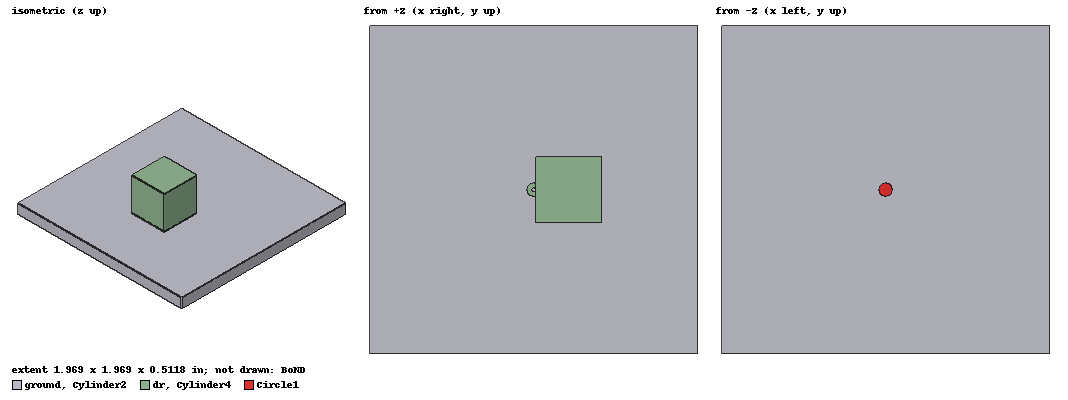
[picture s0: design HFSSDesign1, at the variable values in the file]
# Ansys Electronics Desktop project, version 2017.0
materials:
  vacuum: permittivity=1
  cobalt: permeability=250 conductivity=10000000
  copper: permeability=0.999991 conductivity=58000000
  pec: conductivity=1e+030
  Teflon (tm): permittivity=2.1 dielectric_loss_tangent=0.001
  Al2_O3_ceramic: permittivity=9.8

design HFSSDesign1 (HFSS, DrivenModal, model units in)
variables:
  n = 10mm
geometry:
  ground [pec] = box(corner=(-25mm, -25mm, 0mm), size=(50mm, 50mm, 3mm))
  Cylinder1 = cylinder(axis=Z, base_centre=(0mm, 0mm, 0mm), radius=1mm, height=3mm)
  ground.subtract(Cylinder1)
  Cylinder2 [pec] = cylinder(axis=Z, base_centre=(0mm, 0mm, 0mm), radius=0.3mm, height=n)
  Cylinder3 = cylinder(axis=Z, base_centre=(0mm, 0mm, 0mm), radius=0.3mm, height=3mm)
  Cylinder4 [Teflon (tm)] = cylinder(axis=Z, base_centre=(0mm, 0mm, 0mm), radius=1mm, height=3mm)
  dr [Al2_O3_ceramic] = box(corner=(0.3mm, -5mm, 3mm), size=(10mm, 10mm, 10mm))
  Circle1 = circle(normal=Z, centre=(0in, 0in, 0in), radius=1mm)
  Cylinder4.subtract(Cylinder3)
  BoND [vacuum] = box(corner=(-25mm, -25mm, 0mm), size=(50mm, 50mm, 50mm))
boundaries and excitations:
  Rad1: Radiation Faces=BoND.face(+z, -x, +y, +x, -y)
  1: Wave Port Objects=Circle1 NumModes=1 Modes{Mode1{IntLine{centre of Circle1.face -> Circle1.vertex(1 of 1)} CharImp=Zpi}}
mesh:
  initial mesh: GlobalCurvilinear{Apply}
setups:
  Setup1: HfssDriven Frequency=5GHz MaxDeltaS=0.02 MaximumPasses=6 MinimumPasses=1 MinimumConvergedPasses=1 PercentRefinement=30 BasisOrder=-1 PortAccuracy=2 IterativeResidual=0.0001 DDMSolverResidual=0.0001 IESolverType=ACA RayDensityPerWavelength=4 MaxNumberOfBounces=5
    sweep Sweep: 3GHz to 7GHz, 400 points; Type=Fast SaveFields
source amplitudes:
  1:1: 1W 0deg
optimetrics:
  ParametricSetup1: Parametric Sim._Setups=[Setup1]
    sweep n: LIN 5mm 15mm 1mm
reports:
  XY Plot 1: dB(S(1,1)) vs Freq on Setup1 : Sweep
  XY Plot 2: dB(S(1,1)) vs Freq on Setup1 : Sweep
  XY Plot 3: dB(S(1,1)) vs Freq on Setup1 : Sweep
  XY Plot 4:
  XY Plot 5: dB(S(1,1)) vs Freq on Setup1 : Sweep [n=all]
